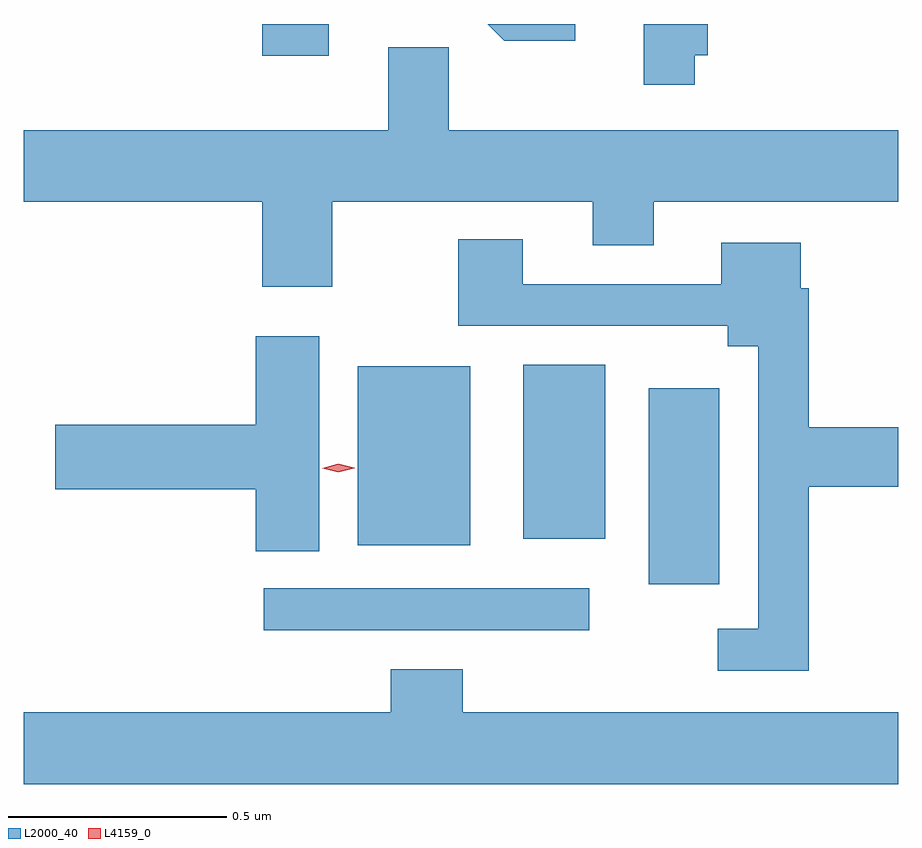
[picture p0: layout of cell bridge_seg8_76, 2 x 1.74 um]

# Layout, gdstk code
import gdstk
lib = gdstk.Library(unit=1e-6, precision=1e-09)
def R(c, l, rs):  # rectangles x0, y0, x1, y1
    for r in rs: c.add(gdstk.rectangle(r[:2], r[2:], *l))
def P(c, l, *ps):  # polygons
    for p in ps: c.add(gdstk.Polygon(p, *l))
L2000_40 = (2000, 40)
L4159_0 = (4159, 0)

bridge_seg8_76 = lib.new_cell('bridge_seg8_76')
R(bridge_seg8_76, L2000_40, [(986.547,1104.864,987.292,1104.96), (987.428,1104.969,987.589,1105.417), (986.762,1105.058,987.019,1105.468), (987.14,1105.073,987.328,1105.471), (986.543,1106.178,986.695,1106.251)])
P(bridge_seg8_76, L2000_40, [(987.259,1106.251),(987.059,1106.251),(987.097,1106.213),(987.259,1106.213)],
  [(987.533,1106.18),(987.563,1106.18),(987.563,1106.251),(987.416,1106.251),(987.416,1106.112),(987.533,1106.112)],
  [(986.703,1105.844),(987.299,1105.844),(987.299,1105.745),(987.439,1105.745),(987.439,1105.844),(987.998,1105.844),(987.998,1106.008),(986.97,1106.008),(986.97,1106.198),(986.831,1106.198),(986.831,1106.008),(985.998,1106.008),(985.998,1105.844),(986.543,1105.844),(986.543,1105.65),(986.703,1105.65)],
  [(987.794,1105.192),(987.998,1105.192),(987.998,1105.328),(987.794,1105.328),(987.794,1105.646),(987.775,1105.646),(987.775,1105.75),(987.593,1105.75),(987.593,1105.656),(987.139,1105.656),(987.139,1105.759),(986.992,1105.759),(986.992,1105.56),(987.608,1105.56),(987.608,1105.514),(987.678,1105.514),(987.678,1104.867),(987.585,1104.867),(987.585,1104.771),(987.794,1104.771)],
  [(986.674,1105.537),(986.528,1105.537),(986.528,1105.334),(986.07,1105.334),(986.07,1105.187),(986.528,1105.187),(986.528,1105.045),(986.674,1105.045)],
  [(987.998,1104.676),(987.002,1104.676),(987.002,1104.775),(986.837,1104.775),(986.837,1104.676),(985.998,1104.676),(985.998,1104.512),(987.998,1104.512)])
P(bridge_seg8_76, L4159_0, [(986.717,1105.225),(986.68,1105.235),(986.68,1105.235),(986.68,1105.235),(986.717,1105.245),(986.754,1105.236),(986.755,1105.235),(986.754,1105.235)])

lib.write_gds('bridge_seg8_76.gds')
